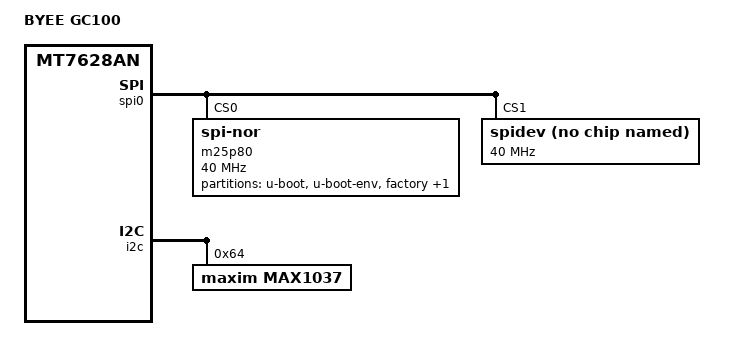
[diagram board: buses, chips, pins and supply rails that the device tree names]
/dts-v1/;

#include "WIDORA-NEO.dtsi"

/ {
	compatible = "widora,neo-32m", "widora,neo", "mediatek,mt7628an-soc";
	model = "BYEE GC100";
};

&spi0 {
	status = "okay";

	pinctrl-names = "default";
	pinctrl-0 = <&spi_pins>, <&spi_cs1_pins>;

	m25p80@0 {
		#address-cells = <1>;
		#size-cells = <1>;
		compatible = "jedec,spi-nor";
		reg = <0>;
		spi-max-frequency = <40000000>;
		m25p,chunked-io = <31>;

		partition@0 {
			label = "u-boot";
			reg = <0x0 0x30000>;
			read-only;
		};

		partition@30000 {
			label = "u-boot-env";
			reg = <0x30000 0x10000>;
		};

		factory: partition@40000 {
			label = "factory";
			reg = <0x40000 0x10000>;
			read-only;
		};

		partition@50000 {
			label = "firmware";
			reg = <0x50000 0x1fb0000>;
		};
	};

	spidev@1 {
		#address-cells = <1>;
		#size-cells = <1>;
		compatible = "linux,spidev";
		reg = <1>;
		spi-max-frequency = <40000000>;
	};
};

&sdhci {
	status = "disabled";
};

&pinctrl {
	state_default: pinctrl0 {
		default {
			ralink,group = "wled_an";
			ralink,function = "gpio";
		};
	};
};

&i2c {
	status = "okay";
	max1037: adc@64 {
		status = "okay";
		compatible = "maxim,max1037";
		reg = <0x64>;
	};
};
